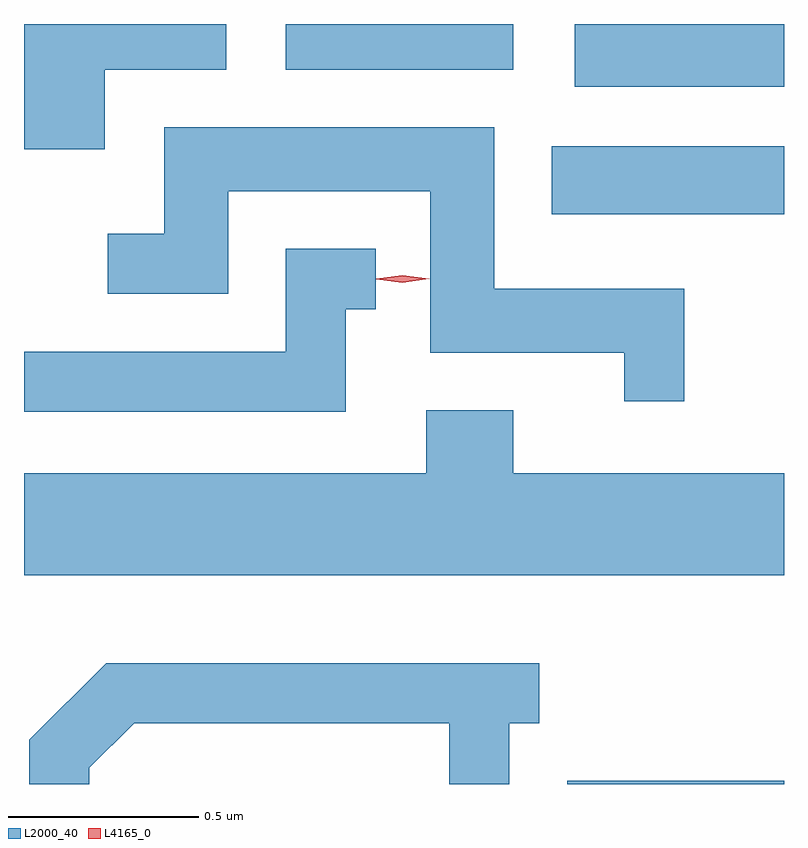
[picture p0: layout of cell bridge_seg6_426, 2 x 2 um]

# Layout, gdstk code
import gdstk
lib = gdstk.Library(unit=1e-6, precision=1e-09)
def R(c, l, rs):  # rectangles x0, y0, x1, y1
    for r in rs: c.add(gdstk.rectangle(r[:2], r[2:], *l))
def P(c, l, *ps):  # polygons
    for p in ps: c.add(gdstk.Polygon(p, *l))
L2000_40 = (2000, 40)
L4165_0 = (4165, 0)

bridge_seg6_426 = lib.new_cell('bridge_seg6_426')
R(bridge_seg6_426, L2000_40, [(863.181,1664.926,863.752,1664.934), (863.141,1666.426,863.752,1666.604), (863.201,1666.761,863.752,1666.926), (862.441,1666.806,863.039,1666.926)])
P(bridge_seg6_426, L2000_40, [(861.964,1666.806),(862.284,1666.806),(862.284,1666.926),(861.752,1666.926),(861.752,1666.596),(861.964,1666.596)],
  [(863.489,1666.229),(862.989,1666.229),(862.989,1666.654),(862.121,1666.654),(862.121,1666.374),(861.973,1666.374),(861.973,1666.216),(862.289,1666.216),(862.289,1666.486),(862.821,1666.486),(862.821,1666.061),(863.331,1666.061),(863.331,1665.933),(863.489,1665.933)],
  [(862.599,1666.176),(862.678,1666.176),(862.678,1666.334),(862.441,1666.334),(862.441,1666.064),(861.752,1666.064),(861.752,1665.906),(862.599,1665.906)],
  [(863.752,1665.744),(863.039,1665.744),(863.039,1665.909),(862.811,1665.909),(862.811,1665.744),(861.752,1665.744),(861.752,1665.476),(863.752,1665.476)],
  [(861.924,1664.969),(862.042,1665.086),(862.871,1665.086),(862.871,1664.926),(863.029,1664.926),(863.029,1665.086),(863.108,1665.086),(863.108,1665.244),(861.969,1665.244),(861.766,1665.042),(861.766,1664.926),(861.924,1664.926)])
P(bridge_seg6_426, L4165_0, [(862.748,1666.245),(862.679,1666.254),(862.679,1666.255),(862.679,1666.255),(862.748,1666.265),(862.818,1666.256),(862.818,1666.256),(862.818,1666.255)])

lib.write_gds('bridge_seg6_426.gds')
